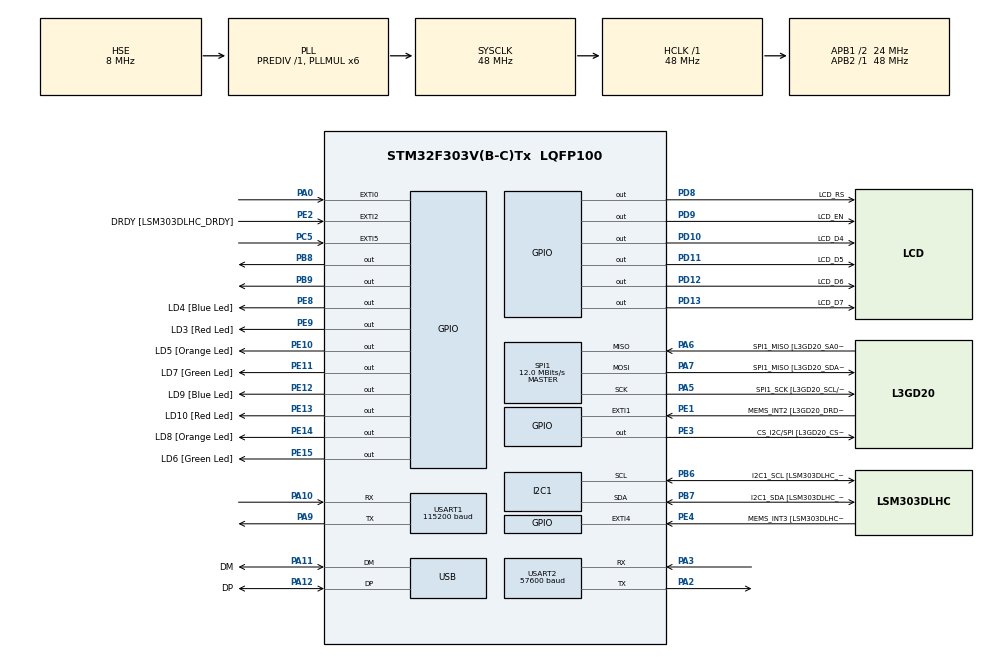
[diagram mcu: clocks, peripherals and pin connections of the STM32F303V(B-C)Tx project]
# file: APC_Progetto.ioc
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I2C1.Timing=0x00201D2B
I2C1.Timing-I2C=0x2000090E
Mcu.Family=STM32F3
Mcu.Name=STM32F303V(B-C)Tx
Mcu.Package=LQFP100
NVIC.EXTI9_5_IRQn=true\:0\:0\:false\:false\:true\:true\:true\:true
NVIC.PriorityGroup=NVIC_PRIORITYGROUP_0
NVIC.USART1_IRQn=true\:0\:0\:false\:false\:true\:true\:true\:true
NVIC.USART2_IRQn=true\:0\:0\:false\:false\:true\:true\:true\:true
PA0.Signal=GPXTI0
PA10.Mode=Asynchronous
PA10.Signal=USART1_RX
PA11.GPIO_Label=DM
PA11.Mode=Device
PA11.Signal=USB_DM
PA12.GPIO_Label=DP
PA12.Mode=Device
PA12.Signal=USB_DP
PA13.GPIO_Label=SWDIO
PA13.Mode=Serial_Wire
PA13.Signal=SYS_JTMS-SWDIO
PA14.GPIO_Label=SWCLK
PA14.Mode=Serial_Wire
PA14.Signal=SYS_JTCK-SWCLK
PA2.Mode=Asynchronous
PA2.Signal=USART2_TX
PA3.Mode=Asynchronous
PA3.Signal=USART2_RX
PA5.GPIO_Label=SPI1_SCK [L3GD20_SCL/SPC]
PA5.Mode=Full_Duplex_Master
PA5.Signal=SPI1_SCK
PA6.GPIO_Label=SPI1_MISO [L3GD20_SA0/SDO]
PA6.Mode=Full_Duplex_Master
PA6.Signal=SPI1_MISO
PA7.GPIO_Label=SPI1_MISO [L3GD20_SDA/SDI/SDO]
PA7.Mode=Full_Duplex_Master
PA7.Signal=SPI1_MOSI
PA9.Mode=Asynchronous
PA9.Signal=USART1_TX
PB3.GPIO_Label=SWO
PB3.Signal=SYS_JTDO-TRACESWO
PB6.GPIO_Label=I2C1_SCL [LSM303DLHC_SCL]
PB6.GPIO_Pu=GPIO_PULLUP
PB6.Mode=I2C
PB6.Signal=I2C1_SCL
PB7.GPIO_Label=I2C1_SDA [LSM303DLHC_SDA]
PB7.GPIO_Pu=GPIO_PULLUP
PB7.Mode=I2C
PB7.Signal=I2C1_SDA
PB8.Signal=GPIO_Output
PB9.Signal=GPIO_Output
PC14-OSC32_IN.GPIO_Label=OSC32_IN
PC14-OSC32_IN.Signal=RCC_OSC32_IN
PC15-OSC32_OUT.GPIO_Label=OSC32_OUT
PC15-OSC32_OUT.Signal=RCC_OSC32_OUT
PC5.GPIO_ModeDefaultEXTI=GPIO_MODE_IT_RISING
PC5.GPIO_PuPd=GPIO_PULLDOWN
PC5.Signal=GPXTI5
PD10.GPIO_Label=LCD_D4
PD10.Signal=GPIO_Output
PD11.GPIO_Label=LCD_D5
PD11.Signal=GPIO_Output
PD12.GPIO_Label=LCD_D6
PD12.Signal=GPIO_Output
PD13.GPIO_Label=LCD_D7
PD13.Signal=GPIO_Output
PD8.GPIO_Label=LCD_RS
PD8.Signal=GPIO_Output
PD9.GPIO_Label=LCD_EN
PD9.Signal=GPIO_Output
PE1.GPIO_Label=MEMS_INT2 [L3GD20_DRDY/INT2]
PE1.GPIO_ModeDefaultEXTI=GPIO_MODE_EVT_RISING
PE1.Signal=GPXTI1
PE10.GPIO_Label=LD5 [Orange Led]
PE10.Signal=GPIO_Output
PE11.GPIO_Label=LD7 [Green Led]
PE11.Signal=GPIO_Output
PE12.GPIO_Label=LD9 [Blue Led]
PE12.Signal=GPIO_Output
PE13.GPIO_Label=LD10 [Red Led]
PE13.Signal=GPIO_Output
PE14.GPIO_Label=LD8 [Orange Led]
PE14.Signal=GPIO_Output
PE15.GPIO_Label=LD6 [Green Led]
PE15.Signal=GPIO_Output
PE2.GPIO_Label=DRDY [LSM303DLHC_DRDY]
PE2.GPIO_ModeDefaultEXTI=GPIO_MODE_EVT_RISING
PE2.Signal=GPXTI2
PE3.GPIO_Label=CS_I2C/SPI [L3GD20_CS_I2C/SPI]
PE3.Signal=GPIO_Output
PE4.GPIO_Label=MEMS_INT3 [LSM303DLHC_INT1]
PE4.GPIO_ModeDefaultEXTI=GPIO_MODE_EVT_RISING
PE4.Signal=GPXTI4
PE8.GPIO_Label=LD4 [Blue Led]
PE8.Signal=GPIO_Output
PE9.GPIO_Label=LD3 [Red Led]
PE9.Signal=GPIO_Output
PF0-OSC_IN.GPIO_Label=OSC_IN
PF0-OSC_IN.Mode=HSE-External-Clock-Source
PF0-OSC_IN.Signal=RCC_OSC_IN
PF1-OSC_OUT.GPIO_Label=OSC_OUT
PF1-OSC_OUT.Signal=RCC_OSC_OUT
ProjectManager.HeapSize=0x200
ProjectManager.StackSize=0x400
ProjectManager.TargetToolchain=STM32CubeIDE
RCC.AHBFreq_Value=48000000
RCC.APB1CLKDivider=RCC_HCLK_DIV2
RCC.APB1Freq_Value=24000000
RCC.APB1TimFreq_Value=48000000
RCC.APB2Freq_Value=48000000
RCC.APB2TimFreq_Value=48000000
RCC.CortexFreq_Value=48000000
RCC.HCLKFreq_Value=48000000
RCC.HSE_VALUE=8000000
RCC.HSI_VALUE=8000000
RCC.LSE_VALUE=32768
RCC.PLLMUL=RCC_PLL_MUL6
RCC.SYSCLKFreq_VALUE=48000000
RCC.SYSCLKSourceVirtual=RCC_SYSCLKSOURCE_PLLCLK
RCC.USBFreq_Value=48000000
SPI1.BaudRatePrescaler=SPI_BAUDRATEPRESCALER_4
SPI1.BaudRatePrescaler-Full_Duplex_Master=SPI_BAUDRATEPRESCALER_2
SPI1.CalculateBaudRate=12.0 MBits/s
SPI1.CalculateBaudRate-Full_Duplex_Master=24.0 MBits/s
SPI1.Direction=SPI_DIRECTION_2LINES
SPI1.Mode=SPI_MODE_MASTER
SPI1.Mode-Full_Duplex_Master=SPI_MODE_MASTER
SPI1.VirtualType=VM_MASTER
USART1.BaudRate=115200
USART1.VirtualMode-Asynchronous=VM_ASYNC
USART2.BaudRate=57600
USART2.VirtualMode-Asynchronous=VM_ASYNC
board=STM32F3DISCOVERY

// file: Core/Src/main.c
/* USER CODE BEGIN Header */
/**
  ******************************************************************************
  * @file    main.c
  * @brief   Smart Lock — STM32F3Discovery
  *          AS608  : USART2  PA2=TX  PA3=RX   57600 baud + EXTI5 su PC5
  *          ESP32  : USART1  PA9=TX  PA10=RX  115200 baud (ricezione IT)
  *          LCD    : 4-bit parallelo GPIOD  PD8=RS PD9=EN PD10-PD13=D4-D7
  *          Buzzer : PB8
  *          Serratura: PB9 — HIGH=aperto (2 s) LOW=chiuso
  *          LED    : LD7 verde (PE11) · LD3 rosso (PE9)
  ******************************************************************************
  * Copyright (c) 2026 STMicroelectronics. All rights reserved.
  * This software is licensed under terms found in the LICENSE file.
  ******************************************************************************
  */
/* USER CODE END Header */
#include "main.h"

/* USER CODE BEGIN Includes */
#include "lcd.h"      /* driver LCD 4-bit parallelo GPIOD */
#include "as608.h"    /* driver lettore impronta AS608    */
#include <string.h>
#include <stdio.h>
/* USER CODE END Includes */

/* USER CODE BEGIN PTD */
typedef enum {
    S_STANDBY,      /* attesa eventi: TCH (PC5) */
    S_IDENTIFY,     /* scansione impronta con AS608               */
    S_WAIT_ESP,     /* attesa risposta AUTH_RESULT da ESP32       */
    S_RESULT_OK,    /* accesso concesso — LED verde + buzz lungo  */
    S_RESULT_FAIL,  /* accesso negato   — LED rosso + 3 bip       */
    S_ENROLL,       /* registrazione guidata nuova impronta       */
} AppState;
/* USER CODE END PTD */

I2C_HandleTypeDef hi2c1;

SPI_HandleTypeDef hspi1;

UART_HandleTypeDef huart1;
UART_HandleTypeDef huart2;

PCD_HandleTypeDef hpcd_USB_FS;

/* USER CODE BEGIN PV */

static AppState appState = S_STANDBY;

/* ── Flag interrupt ─────────────────────────────────────────────────────────
 * Scritti nelle ISR (HAL_GPIO_EXTI_Callback), letti nel loop principale.
 * Dichiarati volatile per impedire ottimizzazioni del compilatore.         */
static volatile uint8_t flagFinger = 0;   /* PC5 TCH — dito rilevato       */

/* ── UART1 ricezione asincrona (ESP32 → STM32) ─────────────────────────── */
#define RX3_LEN   64
static uint8_t          rx3Byte;               /* buffer singolo byte IT     */
static char             rx3Buf[RX3_LEN];       /* riga accumulata            */
static uint8_t          rx3Idx   = 0;          /* indice di scrittura        */
static volatile uint8_t rx3Ready = 0;          /* flag: riga completa pronta */
static uint32_t         espTimer = 0;          /* timestamp avvio timeout    */

/* ── Ultimo ID identificato ─────────────────────────────────────────────── */
static uint8_t lastFid = 0;

/* ── Macro LED e Buzzer ─────────────────────────────────────────────────── */
#define LED_GREEN   LD7_Pin      /* PE11 — LD7 verde  */
#define LED_RED     LD3_Pin      /* PE9  — LD3 rosso  */
#define LED_PORT    GPIOE
#define BUZ_PIN     GPIO_PIN_8   /* PB8               */
#define BUZ_PORT    GPIOB
#define LOCK_PIN    GPIO_PIN_9   /* PB9 — serratura   */
#define LOCK_PORT   GPIOB        /* HIGH=aperto LOW=chiuso */

/* USER CODE END PV */

void SystemClock_Config(void);
static void MX_GPIO_Init(void);
static void MX_I2C1_Init(void);
static void MX_SPI1_Init(void);
static void MX_USB_PCD_Init(void);
static void MX_USART2_UART_Init(void);
static void MX_USART1_UART_Init(void);
/* USER CODE BEGIN PFP */
static void LED_Set(uint16_t pin, uint8_t on);
static void LED_OffAll(void);
static void Buzz(uint32_t ms);
static void BuzzBoot(void);
static void BuzzOK(void);
static void BuzzFail(void);
static void BuzzConfirm(void);
static void ShowLCD(const char* l1, const char* l2);
static void SendESP(const char* msg);
static void RunEnroll(void);
/* USER CODE END PFP */

/* USER CODE BEGIN 0 */

/* ── Callback EXTI ─────────────────────────────────────────────────────────
 * Gestisce i rising-edge di PC5 (TCH) e PA0 (pulsante).
 * Setta solo il flag — nessuna logica applicativa nell'ISR.                */
void HAL_GPIO_EXTI_Callback(uint16_t GPIO_Pin) {
    if (GPIO_Pin == GPIO_PIN_5) flagFinger = 1;   /* TCH AS608     */
}

/* ── Callback UART1 (ESP32 → STM32) ────────────────────────────────────────
 * Riceve un byte alla volta e assembla la riga fino a '\n'.
 * rx3Ready = 1 segnala che rx3Buf contiene una riga completa.
 * La callback si riarma immediatamente dopo ogni byte.                     */
void HAL_UART_RxCpltCallback(UART_HandleTypeDef* h) {
    if (h->Instance == USART1) {
        char c = (char)rx3Byte;
        if (c == '\n') {
            rx3Buf[rx3Idx] = '\0';
            if (rx3Idx > 0) rx3Ready = 1;
            rx3Idx = 0;
        } else if (c != '\r' && rx3Idx < RX3_LEN - 1) {
            rx3Buf[rx3Idx++] = c;
        }
        HAL_UART_Receive_IT(&huart1, &rx3Byte, 1);
    }
}

/* ── Callback errore UART1 ──────────────────────────────────────────────────
 * Il HAL chiama questa funzione quando USART1 riceve un errore
 * (framing, noise, overrun) — tipicamente causato dal rumore EMI
 * generato dal relè alla commutazione del solenoide.
 * Senza override la catena HAL_UART_Receive_IT si interrompe
 * definitivamente: la STM32 smette di ricevere dall'ESP32 finché
 * non si resetta, causando timeout su tutti i tentativi successivi.
 * Qui si azzera il buffer parziale e si riarma la ricezione.              */
void HAL_UART_ErrorCallback(UART_HandleTypeDef* h) {
    if (h->Instance == USART1) {
        rx3Idx = 0;                                  /* scarta byte corrotti */
        HAL_UART_Receive_IT(h, &rx3Byte, 1);         /* riarma ricezione     */
    }
}

/* ── Primitivi LED e Buzzer ─────────────────────────────────────────────── */

static void LED_Set(uint16_t pin, uint8_t on) {
    HAL_GPIO_WritePin(LED_PORT, pin, on ? GPIO_PIN_SET : GPIO_PIN_RESET);
}
static void LED_OffAll(void) {
    LED_Set(LED_GREEN, 0);
    LED_Set(LED_RED,   0);
}
static void Buzz(uint32_t ms) {
    HAL_GPIO_WritePin(BUZ_PORT, BUZ_PIN, GPIO_PIN_SET);
    HAL_Delay(ms);
    HAL_GPIO_WritePin(BUZ_PORT, BUZ_PIN, GPIO_PIN_RESET);
}

/* Buzzer: Boot=200ms · OK=500ms · Fail=3×100ms · Confirm=80ms */
static void BuzzBoot(void)    { Buzz(200); }
static void BuzzOK(void)      { Buzz(500); }
static void BuzzFail(void)    { Buzz(100); HAL_Delay(80); Buzz(100); HAL_Delay(80); Buzz(100); }
static void BuzzConfirm(void) { Buzz(80);  }

/* ── Serratura ──────────────────────────────────────────────────────────── */
static void Lock_Open(void)  { HAL_GPIO_WritePin(LOCK_PORT, LOCK_PIN, GPIO_PIN_SET);   }
static void Lock_Close(void) { HAL_GPIO_WritePin(LOCK_PORT, LOCK_PIN, GPIO_PIN_RESET); }

/* ── Helper LCD ─────────────────────────────────────────────────────────── */
static void ShowLCD(const char* l1, const char* l2) {
    LCD_Clear();
    LCD_SetCursor(0, 0); LCD_Print(l1);
    LCD_SetCursor(0, 1); LCD_Print(l2);
}

/* ── Helper UART1 (invio verso ESP32) ──────────────────────────────────── */
static void SendESP(const char* msg) {
    char buf[80];
    uint16_t n = (uint16_t)snprintf(buf, sizeof(buf), "%s\r\n", msg);
    HAL_UART_Transmit(&huart1, (uint8_t*)buf, n, 1000);
}

/* ────────────────────────────────────────────────────────────────────────────
 * RunEnroll — procedura guidata di registrazione impronta
 * Cerca il primo slot libero (FindFreeSlot via LoadChar), acquisisce due
 * immagini, genera il modello e lo salva. Parte da slot 1 (ID 0 ignorato).
 * ───────────────────────────────────────────────────────────────────────── */
static void RunEnroll(void) {

    /* ── Cerca il primo slot libero nella libreria AS608 ── */
    ShowLCD("Ricerca slot.. ", "               ");
    int8_t freeSlot = AS608_FindFreeSlot();

    if (freeSlot < 0) {
        ShowLCD("DB Pieno!      ", "Max 127 impr.  ");
        SendESP("ENROLL_RESULT:ERR:DB_FULL");
        BuzzFail();
        HAL_Delay(2000);
        return;
    }

    uint8_t  slot = (uint8_t)freeSlot;
    char     line[17];
    uint32_t t0;

    /* ── Passo 1: prima acquisizione ──────────────────────── */
    ShowLCD("Nuova Impronta ", "Appoggia dito  ");

    t0 = HAL_GetTick();
    while (!AS608_IsFingerPresent()) {
        if (HAL_GetTick() - t0 > 10000) goto enroll_timeout;
        HAL_Delay(100);
    }
    if (AS608_GetImage()               != AS608_OK) goto enroll_error;
    if (AS608_GenChar(AS608_CHARBUF_1) != AS608_OK) goto enroll_error;
    BuzzConfirm();

    /* ── Passo 2: rimozione dito ──────────────────────────── */
    ShowLCD("Togli il dito  ", "               ");
    while (AS608_IsFingerPresent()) HAL_Delay(100);
    HAL_Delay(500);   /* debounce meccanico */

    /* ── Passo 3: seconda acquisizione ───────────────────── */
    ShowLCD("Appoggia        ", "di nuovo       ");

    t0 = HAL_GetTick();
    while (!AS608_IsFingerPresent()) {
        if (HAL_GetTick() - t0 > 10000) goto enroll_timeout;
        HAL_Delay(100);
    }
    if (AS608_GetImage()               != AS608_OK) goto enroll_error;
    if (AS608_GenChar(AS608_CHARBUF_2) != AS608_OK) goto enroll_error;
    BuzzConfirm();

    /* ── Passo 4: genera modello e salva ─────────────────── */
    if (AS608_RegModel()      != AS608_OK) goto enroll_error;
    if (AS608_StoreChar(slot) != AS608_OK) goto enroll_error;

    /* ── Successo ─────────────────────────────────────────── */
    snprintf(line, sizeof(line), "Salvata ID: %u", (unsigned)slot);
    ShowLCD("Impronta OK!   ", line);
    {
        char msg[32];
        snprintf(msg, sizeof(msg), "ENROLL_RESULT:%u:OK", (unsigned)slot);
        SendESP(msg);
    }
    BuzzOK();
    HAL_Delay(2000);
    return;

enroll_error:
    ShowLCD("Errore Registr.", "               ");
    SendESP("ENROLL_RESULT:ERR:FAIL");
    BuzzFail();
    HAL_Delay(2000);
    return;

enroll_timeout:
    ShowLCD("Timeout        ", "Operaz. annull.");
    SendESP("ENROLL_RESULT:ERR:TIMEOUT");
    BuzzFail();
    HAL_Delay(2000);
}

/* USER CODE END 0 */

int main(void)
{

  /* MCU Configuration--------------------------------------------------------*/

  /* Reset of all peripherals, Initializes the Flash interface and the Systick. */
  HAL_Init();

  /* Configure the system clock */
  SystemClock_Config();

  /* Initialize all configured peripherals */
  MX_GPIO_Init();
  MX_I2C1_Init();
  MX_SPI1_Init();
  MX_USB_PCD_Init();
  MX_USART2_UART_Init();
  MX_USART1_UART_Init();
  /* USER CODE BEGIN 2 */

  LCD_Init();
  AS608_Init(&huart2);

  /* ══════════════════════════════════════════════════════
   * SEQUENZA DI BOOT
   * ══════════════════════════════════════════════════════ */

  /* 1. Controllo reset hardware ─────────────────────────
   * Legge PA0 direttamente dopo MX_GPIO_Init().
   * Se il pulsante è tenuto premuto all'accensione, azzera
   * l'intera libreria biometrica dell'AS608.
   *
   * Strategia doppia:
   *   a) Prova EmptyDB (comando bulk rapido)
   *   b) Se LoadChar su slot 0 o 1 risponde ancora OK,
   *      EmptyDB non ha funzionato → cancella slot 0-127
   *      uno per uno con DeleteChar (fallback sicuro).    */
  if (HAL_GPIO_ReadPin(GPIOA, GPIO_PIN_0) == GPIO_PIN_SET) {

      HAL_Delay(200);
      ShowLCD("Reset Database ", "In corso...    ");

      /* Handshake obbligatorio prima di qualsiasi comando */
      if (AS608_VerifyPassword() != AS608_OK) {
          ShowLCD("Errore Sensore ", "Reset annullato");
          BuzzFail();
          HAL_Delay(2000);
          goto boot_continue;
      }

      /* Tentativo 1: EmptyDB bulk */
      AS608_EmptyDB();
      HAL_Delay(1500);

      /* Verifica effettiva: slot 0 e slot 1 devono essere vuoti */
      uint8_t slot0_occupied = (AS608_LoadChar(AS608_CHARBUF_2, 0) == AS608_OK);
      uint8_t slot1_occupied = (AS608_LoadChar(AS608_CHARBUF_2, 1) == AS608_OK);

      if (slot0_occupied || slot1_occupied) {
          /* EmptyDB non ha funzionato — fallback: DeleteChar slot per slot */
          ShowLCD("Pulizia manuale", "Attendere...   ");
          uint8_t errCount = 0;
          for (uint8_t i = 0; i <= 127; i++) {
              /* Cancella solo se lo slot è occupato */
              if (AS608_LoadChar(AS608_CHARBUF_2, i) == AS608_OK) {
                  if (AS608_DeleteChar(i) != AS608_OK) errCount++;
              }
              HAL_Delay(50);
          }

          /* Verifica finale dopo cancellazione manuale */
          if (AS608_LoadChar(AS608_CHARBUF_2, 1) != AS608_OK) {
              ShowLCD("Database       ", "Azzerato!      ");
              SendESP("DB_RESET");
              Buzz(500);
          } else {
              ShowLCD("Errore Reset   ", "Riprovare      ");
              BuzzFail();
          }
      } else {
          /* EmptyDB ha funzionato */
          ShowLCD("Database       ", "Azzerato!      ");
          SendESP("DB_RESET");
          Buzz(500);
      }

      HAL_Delay(2000);
  }

/* Destinazione goto: salta il reset hardware se AS608_VerifyPassword() fallisce */
boot_continue:

  /* 2. Splash screen ──────────────────────────────────── */
  ShowLCD("   Magic Box   ", " Progetto APC  ");
  BuzzBoot();
  HAL_Delay(1500);

  /* 3. Self-test sensore ────────────────────────────────
   * Handshake obbligatorio con l'AS608 tramite VFY_PWD.
   * In caso di fallimento il sistema si blocca: senza
   * sensore funzionante non ha senso proseguire.         */
  ShowLCD("Init sensore...", "               ");
  if (AS608_VerifyPassword() != AS608_OK) {
      ShowLCD("Errore Sensore ", "Sistema fermo  ");
      BuzzFail();
      while (1);   /* halt bloccante */
  }

  /* 4. Avvio ricezione asincrona ESP32 + notifica boot ── */
  HAL_UART_Receive_IT(&huart1, &rx3Byte, 1);
  SendESP("BOOT:SYSTEM_OK");

  appState = S_STANDBY;

  /* USER CODE END 2 */

  /* Infinite loop */
  /* USER CODE BEGIN WHILE */
  while (1)
  {
    switch (appState) {

    /* ── S_STANDBY ─────────────────────────────────────────
     * Stato di riposo. Rimane in spin-wait finché arriva un
     * dito (PC5) o un comando ESP32 via UART (ENROLL_START,
     * DELETE_CHAR:<id>, AS608_RESET).                        */
    case S_STANDBY:
        ShowLCD("   Magic Box   ", "Attesa impronta");
        LED_OffAll();
        flagFinger = 0;
        while (!flagFinger && !rx3Ready) HAL_Delay(50);

        if (rx3Ready) {
            if (strcmp(rx3Buf, "ENROLL_START") == 0) {
                appState = S_ENROLL;
            } else if (strncmp(rx3Buf, "DELETE_CHAR:", 12) == 0) {
                uint8_t delId = (uint8_t)atoi(rx3Buf + 12);
                char resp[32];
                uint8_t attempts = 0;
                uint8_t deleted  = 0;
                while (attempts < 3 && !deleted) {
                    AS608_DeleteChar(delId);
                    HAL_Delay(300);
                    /* LoadChar OK → slot ancora occupato; errore → slot libero */
                    if (AS608_LoadChar(AS608_CHARBUF_2, delId) != AS608_OK) {
                        deleted = 1;
                    } else if (attempts < 2) {
                        HAL_Delay(200);
                    }
                    attempts++;
                }
                snprintf(resp, sizeof(resp),
                         deleted ? "DELETE_CHAR_OK:%u" : "DELETE_CHAR_ERR:%u",
                         (unsigned)delId);
                SendESP(resp);
                appState = S_STANDBY;
            } else if (strcmp(rx3Buf, "AS608_RESET") == 0) {
                ShowLCD("Reset DB...    ", "In corso...    ");
                if (AS608_VerifyPassword() != AS608_OK) {
                    ShowLCD("Errore Sensore ", "Reset annullato");
                    SendESP("AS608_RESET_ERR");
                    BuzzFail();
                    HAL_Delay(1500);
                    appState = S_STANDBY;
                    break;
                }

                /* Tentativo 1: EmptyDB bulk */
                AS608_EmptyDB();
                HAL_Delay(1500);

                /* Verifica effettiva: slot 0 e slot 1 devono essere vuoti */
                uint8_t r0 = (AS608_LoadChar(AS608_CHARBUF_2, 0) == AS608_OK);
                uint8_t r1 = (AS608_LoadChar(AS608_CHARBUF_2, 1) == AS608_OK);

                if (r0 || r1) {
                    /* EmptyDB non ha funzionato — fallback: DeleteChar slot per slot */
                    ShowLCD("Pulizia manuale", "Attendere...   ");
                    for (uint8_t i = 0; i <= 127; i++) {
                        if (AS608_LoadChar(AS608_CHARBUF_2, i) == AS608_OK) {
                            AS608_DeleteChar(i);
                        }
                        HAL_Delay(50);
                    }
                }

                /* Verifica finale */
                if (AS608_LoadChar(AS608_CHARBUF_2, 1) != AS608_OK) {
                    ShowLCD("Database       ", "Azzerato!      ");
                    SendESP("AS608_RESET_OK");
                    Buzz(500);
                } else {
                    ShowLCD("Errore Reset   ", "Riprovare      ");
                    SendESP("AS608_RESET_ERR");
                    BuzzFail();
                }
                HAL_Delay(1500);
                appState = S_STANDBY;
            } else {
                appState = S_STANDBY;
            }
            rx3Ready = 0;
        } else {
            flagFinger = 0;
            appState   = S_IDENTIFY;
        }
        break;

    /* ── S_IDENTIFY ────────────────────────────────────────
     * Chiede all'AS608 di scansionare e cercare il dito nella
     * sua libreria flash (ricerca 1:N autonoma).
     * Se trovato, invia l'ID all'ESP32 per la verifica nel
     * database relazionale (nome, ruolo, permessi).
     *
     * CRITICO: rx3Ready e rx3Idx vengono azzerati PRIMA di
     * SendESP — se la risposta arriva durante ShowLCD (che
     * chiama HAL_Delay internamente), l'ISR setta rx3Ready=1
     * e il dato rimane valido. Azzerarlo dopo SendESP lo
     * cancellerebbe silenziosamente (race condition).        */
    case S_IDENTIFY: {
        ShowLCD("  Scansione... ", "               ");

        uint8_t  fid   = 0;
        uint16_t score = 0;
        AS608_Result r = AS608_IdentifyFinger(&fid, &score);

        if (r == AS608_OK) {
            lastFid = fid;
            char req[32];
            snprintf(req, sizeof(req), "AUTH_REQUEST:%d", fid);

            ShowLCD("Verifica...    ", "               ");

            /* Pulisci buffer PRIMA di inviare la richiesta */
            rx3Ready = 0;
            rx3Idx   = 0;

            SendESP(req);
            espTimer = HAL_GetTick();
            appState = S_WAIT_ESP;
        } else if (r == AS608_ERR_TIMEOUT) {
            /* AS608 non risponde alla UART */
            SendESP("ERR:AS608_TIMEOUT");
            appState = S_RESULT_FAIL;
        } else {
            /* no-match (0x09), immagine sfocata (0x03), ecc. */
            SendESP("ALERT:UNKNOWN_FINGER");
            appState = S_RESULT_FAIL;
        }
        break;
    }

    /* ── S_WAIT_ESP ────────────────────────────────────────
     * Attende la risposta dell'ESP32 entro 10 secondi.
     * Messaggio atteso: "AUTH_RESULT:<id>:GRANTED|DENIED"
     *
     * IMPORTANTE: il timeout è else-if — se rx3Ready è già
     * true nel medesimo ciclo il timeout non sovrascrive
     * il risultato (race condition fix).                   */
    case S_WAIT_ESP:
        if (rx3Ready) {
            rx3Ready = 0;
            if (strncmp(rx3Buf, "AUTH_RESULT:", 12) == 0) {
                appState = strstr(rx3Buf, "GRANTED") ? S_RESULT_OK : S_RESULT_FAIL;
            }
        } else if (HAL_GetTick() - espTimer > 1500) {
            SendESP("ERR:ESP32_TIMEOUT");
            appState = S_RESULT_FAIL;
        }
        else{
        	HAL_Delay(50);
        }
        break;

    /* ── S_RESULT_OK ───────────────────────────────────────
     * Accesso concesso. LED verde fisso per 2 s + bip lungo.
     * PB9 → HIGH (serratura aperta) per 2 s, poi LOW (chiusa). */
    case S_RESULT_OK: {
        char line2[17];
        snprintf(line2, sizeof(line2), "ID: %u", (unsigned)lastFid);
        ShowLCD("Accesso OK!    ", line2);
        LED_Set(LED_GREEN, 1);
        BuzzOK();
        Lock_Open();            /* PB9 HIGH — serratura aperta  */
        HAL_Delay(1000);
        Lock_Close();           /* PB9 LOW  — serratura chiusa  */
        LED_OffAll();
        appState = S_STANDBY;
        break;
    }

    /* ── S_RESULT_FAIL ─────────────────────────────────────
     * Accesso negato. LED rosso fisso per 2 s + 3 bip rapidi. */
    case S_RESULT_FAIL:
        ShowLCD("Accesso Negato ", "               ");
        LED_Set(LED_RED, 1);
        BuzzFail();
        HAL_Delay(1500);
        LED_OffAll();
        appState = S_STANDBY;
        break;

    /* ── S_ENROLL ──────────────────────────────────────────
     * Registrazione guidata di una nuova impronta.
     * La logica è in RunEnroll() per mantenere il switch
     * leggibile. Dopo il ritorno torna sempre a S_STANDBY. */
    case S_ENROLL:
        RunEnroll();
        appState = S_STANDBY;
        break;

    } /* end switch */

    /* USER CODE END WHILE */

  }
}

void SystemClock_Config(void)
{
  RCC_OscInitTypeDef RCC_OscInitStruct = {0};
  RCC_ClkInitTypeDef RCC_ClkInitStruct = {0};
  RCC_PeriphCLKInitTypeDef PeriphClkInit = {0};

  /** Initializes the RCC Oscillators according to the specified parameters
  * in the RCC_OscInitTypeDef structure.
  */
  RCC_OscInitStruct.OscillatorType = RCC_OSCILLATORTYPE_HSI|RCC_OSCILLATORTYPE_HSE;
  RCC_OscInitStruct.HSEState = RCC_HSE_BYPASS;
  RCC_OscInitStruct.HSEPredivValue = RCC_HSE_PREDIV_DIV1;
  RCC_OscInitStruct.HSIState = RCC_HSI_ON;
  RCC_OscInitStruct.HSICalibrationValue = RCC_HSICALIBRATION_DEFAULT;
  RCC_OscInitStruct.PLL.PLLState = RCC_PLL_ON;
  RCC_OscInitStruct.PLL.PLLSource = RCC_PLLSOURCE_HSE;
  RCC_OscInitStruct.PLL.PLLMUL = RCC_PLL_MUL6;
  if (HAL_RCC_OscConfig(&RCC_OscInitStruct) != HAL_OK)
  {
    Error_Handler();
  }

  /** Initializes the CPU, AHB and APB buses clocks
  */
  RCC_ClkInitStruct.ClockType = RCC_CLOCKTYPE_HCLK|RCC_CLOCKTYPE_SYSCLK
                              |RCC_CLOCKTYPE_PCLK1|RCC_CLOCKTYPE_PCLK2;
  RCC_ClkInitStruct.SYSCLKSource = RCC_SYSCLKSOURCE_PLLCLK;
  RCC_ClkInitStruct.AHBCLKDivider = RCC_SYSCLK_DIV1;
  RCC_ClkInitStruct.APB1CLKDivider = RCC_HCLK_DIV2;
  RCC_ClkInitStruct.APB2CLKDivider = RCC_HCLK_DIV1;

  if (HAL_RCC_ClockConfig(&RCC_ClkInitStruct, FLASH_LATENCY_1) != HAL_OK)
  {
    Error_Handler();
  }
  PeriphClkInit.PeriphClockSelection = RCC_PERIPHCLK_USB|RCC_PERIPHCLK_USART1
                              |RCC_PERIPHCLK_USART2|RCC_PERIPHCLK_I2C1;
  PeriphClkInit.Usart1ClockSelection = RCC_USART1CLKSOURCE_PCLK2;
  PeriphClkInit.Usart2ClockSelection = RCC_USART2CLKSOURCE_PCLK1;
  PeriphClkInit.I2c1ClockSelection = RCC_I2C1CLKSOURCE_HSI;
  PeriphClkInit.USBClockSelection = RCC_USBCLKSOURCE_PLL;
  if (HAL_RCCEx_PeriphCLKConfig(&PeriphClkInit) != HAL_OK)
  {
    Error_Handler();
  }
}

static void MX_I2C1_Init(void)
{

  hi2c1.Instance = I2C1;
  hi2c1.Init.Timing = 0x00201D2B;
  hi2c1.Init.OwnAddress1 = 0;
  hi2c1.Init.AddressingMode = I2C_ADDRESSINGMODE_7BIT;
  hi2c1.Init.DualAddressMode = I2C_DUALADDRESS_DISABLE;
  hi2c1.Init.OwnAddress2 = 0;
  hi2c1.Init.OwnAddress2Masks = I2C_OA2_NOMASK;
  hi2c1.Init.GeneralCallMode = I2C_GENERALCALL_DISABLE;
  hi2c1.Init.NoStretchMode = I2C_NOSTRETCH_DISABLE;
  if (HAL_I2C_Init(&hi2c1) != HAL_OK)
  {
    Error_Handler();
  }

  /** Configure Analogue filter
  */
  if (HAL_I2CEx_ConfigAnalogFilter(&hi2c1, I2C_ANALOGFILTER_ENABLE) != HAL_OK)
  {
    Error_Handler();
  }

  /** Configure Digital filter
  */
  if (HAL_I2CEx_ConfigDigitalFilter(&hi2c1, 0) != HAL_OK)
  {
    Error_Handler();
  }

}

static void MX_SPI1_Init(void)
{

  /* SPI1 parameter configuration*/
  hspi1.Instance = SPI1;
  hspi1.Init.Mode = SPI_MODE_MASTER;
  hspi1.Init.Direction = SPI_DIRECTION_2LINES;
  hspi1.Init.DataSize = SPI_DATASIZE_4BIT;
  hspi1.Init.CLKPolarity = SPI_POLARITY_LOW;
  hspi1.Init.CLKPhase = SPI_PHASE_1EDGE;
  hspi1.Init.NSS = SPI_NSS_SOFT;
  hspi1.Init.BaudRatePrescaler = SPI_BAUDRATEPRESCALER_4;
  hspi1.Init.FirstBit = SPI_FIRSTBIT_MSB;
  hspi1.Init.TIMode = SPI_TIMODE_DISABLE;
  hspi1.Init.CRCCalculation = SPI_CRCCALCULATION_DISABLE;
  hspi1.Init.CRCPolynomial = 7;
  hspi1.Init.CRCLength = SPI_CRC_LENGTH_DATASIZE;
  hspi1.Init.NSSPMode = SPI_NSS_PULSE_ENABLE;
  if (HAL_SPI_Init(&hspi1) != HAL_OK)
  {
    Error_Handler();
  }

}

static void MX_USART1_UART_Init(void)
{

  huart1.Instance = USART1;
  huart1.Init.BaudRate = 115200;
  huart1.Init.WordLength = UART_WORDLENGTH_8B;
  huart1.Init.StopBits = UART_STOPBITS_1;
  huart1.Init.Parity = UART_PARITY_NONE;
  huart1.Init.Mode = UART_MODE_TX_RX;
  huart1.Init.HwFlowCtl = UART_HWCONTROL_NONE;
  huart1.Init.OverSampling = UART_OVERSAMPLING_16;
  huart1.Init.OneBitSampling = UART_ONE_BIT_SAMPLE_DISABLE;
  huart1.AdvancedInit.AdvFeatureInit = UART_ADVFEATURE_NO_INIT;
  if (HAL_UART_Init(&huart1) != HAL_OK)
  {
    Error_Handler();
  }

}

static void MX_USART2_UART_Init(void)
{

  huart2.Instance = USART2;
  huart2.Init.BaudRate = 57600;
  huart2.Init.WordLength = UART_WORDLENGTH_8B;
  huart2.Init.StopBits = UART_STOPBITS_1;
  huart2.Init.Parity = UART_PARITY_NONE;
  huart2.Init.Mode = UART_MODE_TX_RX;
  huart2.Init.HwFlowCtl = UART_HWCONTROL_NONE;
  huart2.Init.OverSampling = UART_OVERSAMPLING_16;
  huart2.Init.OneBitSampling = UART_ONE_BIT_SAMPLE_DISABLE;
  huart2.AdvancedInit.AdvFeatureInit = UART_ADVFEATURE_NO_INIT;
  if (HAL_UART_Init(&huart2) != HAL_OK)
  {
    Error_Handler();
  }

}

static void MX_USB_PCD_Init(void)
{

  hpcd_USB_FS.Instance = USB;
  hpcd_USB_FS.Init.dev_endpoints = 8;
  hpcd_USB_FS.Init.speed = PCD_SPEED_FULL;
  hpcd_USB_FS.Init.phy_itface = PCD_PHY_EMBEDDED;
  hpcd_USB_FS.Init.low_power_enable = DISABLE;
  hpcd_USB_FS.Init.battery_charging_enable = DISABLE;
  if (HAL_PCD_Init(&hpcd_USB_FS) != HAL_OK)
  {
    Error_Handler();
  }

}

static void MX_GPIO_Init(void)
{
  GPIO_InitTypeDef GPIO_InitStruct = {0};

  /* GPIO Ports Clock Enable */
  __HAL_RCC_GPIOE_CLK_ENABLE();
  __HAL_RCC_GPIOC_CLK_ENABLE();
  __HAL_RCC_GPIOF_CLK_ENABLE();
  __HAL_RCC_GPIOA_CLK_ENABLE();
  __HAL_RCC_GPIOD_CLK_ENABLE();
  __HAL_RCC_GPIOB_CLK_ENABLE();

  /*Configure GPIO pin Output Level */
  HAL_GPIO_WritePin(GPIOE, CS_I2C_SPI_Pin|LD4_Pin|LD3_Pin|LD5_Pin
                          |LD7_Pin|LD9_Pin|LD10_Pin|LD8_Pin
                          |LD6_Pin, GPIO_PIN_RESET);

  /*Configure GPIO pin Output Level */
  HAL_GPIO_WritePin(GPIOD, LCD_RS_Pin|LCD_EN_Pin|LCD_D4_Pin|LCD_D5_Pin
                          |LCD_D6_Pin|LCD_D7_Pin, GPIO_PIN_RESET);

  /*Configure GPIO pin Output Level */
  HAL_GPIO_WritePin(GPIOB, GPIO_PIN_8|GPIO_PIN_9, GPIO_PIN_RESET);

  /*Configure GPIO pins : DRDY_Pin MEMS_INT3_Pin MEMS_INT2_Pin */
  GPIO_InitStruct.Pin = DRDY_Pin|MEMS_INT3_Pin|MEMS_INT2_Pin;
  GPIO_InitStruct.Mode = GPIO_MODE_EVT_RISING;
  GPIO_InitStruct.Pull = GPIO_NOPULL;
  HAL_GPIO_Init(GPIOE, &GPIO_InitStruct);

  /*Configure GPIO pins : CS_I2C_SPI_Pin LD4_Pin LD3_Pin LD5_Pin
                           LD7_Pin LD9_Pin LD10_Pin LD8_Pin
                           LD6_Pin */
  GPIO_InitStruct.Pin = CS_I2C_SPI_Pin|LD4_Pin|LD3_Pin|LD5_Pin
                          |LD7_Pin|LD9_Pin|LD10_Pin|LD8_Pin
                          |LD6_Pin;
  GPIO_InitStruct.Mode = GPIO_MODE_OUTPUT_PP;
  GPIO_InitStruct.Pull = GPIO_NOPULL;
  GPIO_InitStruct.Speed = GPIO_SPEED_FREQ_LOW;
  HAL_GPIO_Init(GPIOE, &GPIO_InitStruct);

  /*Configure GPIO pin : PA0 */
  GPIO_InitStruct.Pin = GPIO_PIN_0;
  GPIO_InitStruct.Mode = GPIO_MODE_IT_RISING;
  GPIO_InitStruct.Pull = GPIO_NOPULL;
  HAL_GPIO_Init(GPIOA, &GPIO_InitStruct);

  /*Configure GPIO pin : PC5 */
  GPIO_InitStruct.Pin = GPIO_PIN_5;
  GPIO_InitStruct.Mode = GPIO_MODE_IT_RISING;
  GPIO_InitStruct.Pull = GPIO_PULLDOWN;
  HAL_GPIO_Init(GPIOC, &GPIO_InitStruct);

  /*Configure GPIO pins : LCD_RS_Pin LCD_EN_Pin LCD_D4_Pin LCD_D5_Pin
                           LCD_D6_Pin LCD_D7_Pin */
  GPIO_InitStruct.Pin = LCD_RS_Pin|LCD_EN_Pin|LCD_D4_Pin|LCD_D5_Pin
                          |LCD_D6_Pin|LCD_D7_Pin;
  GPIO_InitStruct.Mode = GPIO_MODE_OUTPUT_PP;
  GPIO_InitStruct.Pull = GPIO_NOPULL;
  GPIO_InitStruct.Speed = GPIO_SPEED_FREQ_LOW;
  HAL_GPIO_Init(GPIOD, &GPIO_InitStruct);

  /*Configure GPIO pins : PB8 PB9 */
  GPIO_InitStruct.Pin = GPIO_PIN_8|GPIO_PIN_9;
  GPIO_InitStruct.Mode = GPIO_MODE_OUTPUT_PP;
  GPIO_InitStruct.Pull = GPIO_NOPULL;
  GPIO_InitStruct.Speed = GPIO_SPEED_FREQ_LOW;
  HAL_GPIO_Init(GPIOB, &GPIO_InitStruct);

  /* EXTI interrupt init*/
  HAL_NVIC_SetPriority(EXTI9_5_IRQn, 0, 0);
  HAL_NVIC_EnableIRQ(EXTI9_5_IRQn);

}

void Error_Handler(void)
{
  __disable_irq();
  while (1) {}
}
